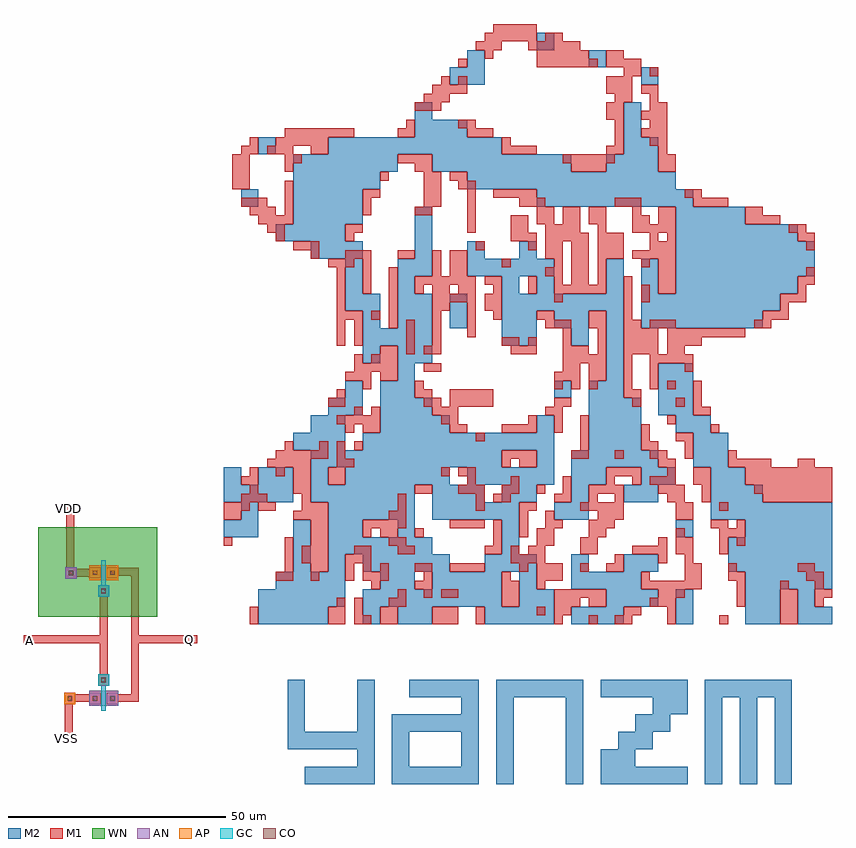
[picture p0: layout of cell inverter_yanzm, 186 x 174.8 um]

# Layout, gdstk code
import gdstk
lib = gdstk.Library(unit=1e-6, precision=1e-07)
def R(c, l, rs):  # rectangles x0, y0, x1, y1
    for r in rs: c.add(gdstk.rectangle(r[:2], r[2:], *l))
def P(c, l, *ps):  # polygons
    for p in ps: c.add(gdstk.Polygon(p, *l))
AP = (3, 1)
AN = (3, 2)
GC = (8, 1)
CO = (11, 0)
M1 = (13, 0)
M2 = (20, 0)
WN = (140, 0)

fet_n = lib.new_cell('fet_n')
R(fet_n, AN, [(-3.3,-1.7,3.3,1.7)])
R(fet_n, CO, [(-2.5,-0.5,-1.5,0.5), (1.5,-0.5,2.5,0.5)])
R(fet_n, M1, [(-3.3,-1.3,-0.7,1.3), (0.7,-1.3,3.3,1.3)])
fet_n.add(gdstk.FlexPath([(0,-2.9),(0,2.9)], 1, ends="flush", simple_path=True, layer=8, datatype=1))  # GC

cont_g = lib.new_cell('cont_g')
R(cont_g, GC, [(-1.3,-1.3,1.3,1.3)])
R(cont_g, CO, [(-0.5,-0.5,0.5,0.5)])
R(cont_g, M1, [(-1.3,-1.3,1.3,1.3)])

cont_p = lib.new_cell('cont_p')
R(cont_p, AP, [(-1.3,-1.3,1.3,1.3)])
R(cont_p, CO, [(-0.5,-0.5,0.5,0.5)])
R(cont_p, M1, [(-1.3,-1.3,1.3,1.3)])

silicon_art = lib.new_cell('SILICON_ART')
R(silicon_art, M1, [(6,0,8,4), (48,0,54,4), (58,0,60,4), (84,0,86,2), (114,0,116,2), (72,2,74,4), (50,6,54,8), (52,12,60,14), (82,12,84,14), (0,18,2,20), (44,20,46,22), (52,22,60,24), (114,26,116,28), (44,30,48,32), (72,30,74,32), (50,34,52,36), (90,38,92,40), (30,40,32,42), (58,42,60,44), (112,44,114,46), (102,46,104,48), (104,50,106,52), (102,54,104,56), (46,58,50,60), (42,62,44,70), (38,68,40,82), (34,70,36,72), (96,74,98,78), (70,76,72,80), (64,82,66,84), (40,84,44,86), (58,86,60,88), (36,102,38,104), (98,126,100,128), (54,128,56,130)])
P(silicon_art, M1, [(72,8),(72,14),(70,14),(70,12),(68,12),(68,14),(66,14),(66,18),(68,18),(68,16),(70,16),(70,18),(72,18),(72,22),(74,22),(74,26),(76,26),(76,24),(78,24),(78,22),(76,22),(76,18),(74,18),(74,14),(78,14),(78,10),(74,10),(74,8)],
  [(68,20),(68,28),(72,28),(72,26),(70,26),(70,20)],
  [(64,36),(64,40),(72,40),(72,36),(68,36),(68,38),(66,38),(66,36)],
  [(64,44),(64,46),(70,46),(70,48),(72,48),(72,44)],
  [(66,62),(66,64),(64,64),(64,66),(68,66),(68,64),(70,64),(70,66),(72,66),(72,62)],
  [(76,54),(76,58),(78,58),(78,68),(74,68),(74,70),(72,70),(72,72),(76,72),(76,70),(80,70),(80,64),(84,64),(84,62),(86,62),(86,68),(84,68),(84,72),(88,72),(88,56),(86,56),(86,54),(84,54),(84,60),(82,60),(82,54),(80,54),(80,56),(78,56),(78,54)],
  [(94,50),(94,52),(92,52),(92,80),(94,80),(94,70),(96,70),(96,68),(100,68),(100,62),(102,62),(102,68),(98,68),(98,70),(104,70),(104,68),(120,68),(120,66),(110,66),(110,64),(106,64),(106,62),(108,62),(108,58),(106,58),(106,60),(100,60),(100,54),(98,54),(98,62),(94,62),(94,54),(96,54),(96,50)],
  [(122,68),(122,70),(124,70),(124,72),(128,72),(128,76),(132,76),(132,80),(134,80),(134,82),(136,82),(136,78),(134,78),(134,74),(130,74),(130,70),(126,70),(126,68)],
  [(26,64),(26,82),(24,82),(24,84),(28,84),(28,86),(34,86),(34,76),(32,76),(32,84),(30,84),(30,82),(28,82),(28,72),(32,72),(32,64),(30,64),(30,70),(28,70),(28,64)],
  [(46,62),(46,64),(48,64),(48,78),(46,78),(46,76),(44,76),(44,78),(52,78),(52,76),(54,76),(54,78),(44,78),(44,80),(48,80),(48,86),(50,86),(50,80),(52,80),(52,86),(56,86),(56,80),(58,80),(58,66),(56,66),(56,74),(52,74),(52,72),(50,72),(50,62)],
  [(70,86),(70,88),(66,88),(66,94),(70,94),(70,90),(72,90),(72,86)],
  [(76,74),(76,80),(74,80),(74,82),(76,82),(76,84),(74,84),(74,88),(78,88),(78,78),(80,78),(80,88),(74,88),(74,92),(72,92),(72,96),(68,96),(68,98),(62,98),(62,100),(72,100),(72,98),(74,98),(74,96),(76,96),(76,92),(78,92),(78,96),(82,96),(82,90),(84,90),(84,78),(86,78),(86,92),(84,92),(84,96),(88,96),(88,90),(92,90),(92,84),(88,84),(88,76),(78,76),(78,74)],
  [(64,108),(64,112),(66,112),(66,110),(72,110),(72,108)],
  [(72,128),(72,132),(70,132),(70,134),(64,134),(64,132),(62,132),(62,130),(60,130),(60,132),(58,132),(58,134),(60,134),(60,136),(62,136),(62,138),(72,138),(72,134),(74,134),(74,136),(78,136),(78,134),(82,134),(82,132),(84,132),(84,130),(86,130),(86,128)],
  [(120,92),(120,96),(124,96),(124,94),(128,94),(128,92)],
  [(100,76),(100,84),(98,84),(98,82),(96,82),(96,84),(94,84),(94,86),(98,86),(98,90),(100,90),(100,88),(102,88),(102,90),(94,90),(94,96),(90,96),(90,98),(96,98),(96,94),(98,94),(98,92),(100,92),(100,96),(104,96),(104,76)],
  [(108,96),(108,98),(106,98),(106,100),(110,100),(110,98),(116,98),(116,96)],
  [(134,86),(134,88),(132,88),(132,90),(130,90),(130,92),(134,92),(134,90),(136,90),(136,86)],
  [(100,104),(100,110),(98,110),(98,112),(96,112),(96,114),(98,114),(98,116),(96,116),(96,118),(98,118),(98,122),(96,122),(96,124),(100,124),(100,120),(102,120),(102,108),(104,108),(104,104)],
  [(80,104),(80,106),(78,106),(78,108),(88,108),(88,110),(90,110),(90,116),(88,116),(88,120),(90,120),(90,122),(88,122),(88,126),(92,126),(92,128),(88,128),(88,132),(92,132),(92,130),(96,130),(96,126),(94,126),(94,120),(92,120),(92,108),(90,108),(90,106),(88,106),(88,104)],
  [(32,94),(32,100),(36,100),(36,98),(34,98),(34,94)],
  [(20,84),(20,86),(16,86),(16,88),(22,88),(22,84)],
  [(12,88),(12,90),(10,90),(10,92),(8,92),(8,94),(6,94),(6,96),(4,96),(4,98),(10,98),(10,96),(12,96),(12,94),(14,94),(14,102),(16,102),(16,92),(14,92),(14,88)],
  [(56,90),(56,100),(54,100),(54,102),(52,102),(52,104),(56,104),(56,102),(58,102),(58,90)],
  [(44,94),(44,96),(46,96),(46,104),(44,104),(44,106),(40,106),(40,108),(48,108),(48,104),(50,104),(50,96),(48,96),(48,94)],
  [(2,100),(2,108),(4,108),(4,110),(6,110),(6,112),(8,112),(8,108),(6,108),(6,100)],
  [(28,88),(28,92),(32,92),(32,90),(30,90),(30,88)],
  [(14,104),(14,108),(10,108),(10,110),(12,110),(12,112),(14,112),(14,114),(30,114),(30,112),(24,112),(24,108),(20,108),(20,110),(16,110),(16,108),(18,108),(18,106),(16,106),(16,104)],
  [(40,112),(40,114),(42,114),(42,116),(44,116),(44,112)],
  [(56,112),(56,114),(54,114),(54,116),(58,116),(58,114),(62,114),(62,112)],
  [(44,118),(44,120),(46,120),(46,122),(48,122),(48,124),(50,124),(50,126),(52,126),(52,124),(54,124),(54,126),(56,126),(56,122),(52,122),(52,120),(50,120),(50,118)],
  [(62,70),(62,72),(60,72),(60,76),(62,76),(62,78),(60,78),(60,80),(64,80),(64,70)],
  [(12,10),(12,12),(14,12),(14,20),(16,20),(16,10)],
  [(60,16),(60,18),(62,18),(62,24),(64,24),(64,16)],
  [(40,16),(40,18),(38,18),(38,20),(36,20),(36,22),(34,22),(34,20),(32,20),(32,24),(38,24),(38,26),(40,26),(40,30),(42,30),(42,22),(40,22),(40,20),(42,20),(42,18),(44,18),(44,16)],
  [(62,28),(62,30),(64,30),(64,32),(66,32),(66,34),(68,34),(68,30),(66,30),(66,28)],
  [(0,24),(0,28),(4,28),(4,30),(6,30),(6,32),(4,32),(4,34),(6,34),(6,36),(8,36),(8,30),(10,30),(10,28),(12,28),(12,26),(8,26),(8,28),(6,28),(6,26),(4,26),(4,24)],
  [(58,26),(58,30),(54,30),(54,32),(56,32),(56,34),(54,34),(54,36),(58,36),(58,32),(60,32),(60,26)],
  [(20,10),(20,14),(18,14),(18,18),(20,18),(20,24),(16,24),(16,26),(18,26),(18,30),(16,30),(16,36),(14,36),(14,34),(12,34),(12,36),(10,36),(10,38),(12,38),(12,40),(14,40),(14,42),(16,42),(16,40),(22,40),(22,42),(24,42),(24,38),(20,38),(20,28),(24,28),(24,12),(22,12),(22,10)],
  [(24,32),(24,36),(26,36),(26,42),(28,42),(28,38),(30,38),(30,36),(28,36),(28,32)],
  [(24,0),(24,4),(26,4),(26,6),(28,6),(28,0)],
  [(28,44),(28,46),(26,46),(26,48),(30,48),(30,50),(32,50),(32,48),(34,48),(34,50),(36,50),(36,44),(32,44),(32,46),(30,46),(30,44)],
  [(24,50),(24,52),(26,52),(26,54),(28,54),(28,50)],
  [(52,44),(52,46),(50,46),(50,48),(48,48),(48,50),(46,50),(46,52),(44,52),(44,56),(46,56),(46,54),(48,54),(48,52),(50,52),(50,50),(52,50),(52,54),(62,54),(62,50),(54,50),(54,46),(56,46),(56,44)],
  [(32,54),(32,56),(28,56),(28,58),(30,58),(30,62),(32,62),(32,60),(34,60),(34,62),(36,62),(36,64),(40,64),(40,56),(36,56),(36,58),(34,58),(34,54)],
  [(30,0),(30,6),(32,6),(32,2),(34,2),(34,0)],
  [(36,0),(36,4),(38,4),(38,6),(40,6),(40,8),(42,8),(42,4),(40,4),(40,0)],
  [(64,4),(64,12),(66,12),(66,10),(68,10),(68,4)],
  [(46,6),(46,8),(44,8),(44,10),(46,10),(46,12),(44,12),(44,14),(48,14),(48,6)],
  [(34,8),(34,10),(32,10),(32,14),(30,14),(30,10),(28,10),(28,16),(30,16),(30,18),(34,18),(34,12),(36,12),(36,14),(38,14),(38,10),(36,10),(36,8)],
  [(102,0),(102,4),(98,4),(98,6),(100,6),(100,8),(96,8),(96,12),(98,12),(98,10),(106,10),(106,16),(104,16),(104,22),(106,22),(106,20),(108,20),(108,14),(110,14),(110,8),(106,8),(106,6),(104,6),(104,0)],
  [(114,16),(114,22),(112,22),(112,24),(116,24),(116,22),(118,22),(118,24),(120,24),(120,18),(118,18),(118,20),(116,20),(116,16)],
  [(106,38),(106,42),(104,42),(104,44),(108,44),(108,38)],
  [(104,24),(104,28),(102,28),(102,30),(100,30),(100,32),(98,32),(98,34),(102,34),(102,36),(100,36),(100,38),(98,38),(98,40),(96,40),(96,46),(98,46),(98,42),(100,42),(100,40),(102,40),(102,38),(104,38),(104,32),(106,32),(106,28),(108,28),(108,24)],
  [(80,38),(80,40),(82,40),(82,48),(84,48),(84,38)],
  [(118,4),(118,10),(116,10),(116,14),(118,14),(118,12),(120,12),(120,4)],
  [(76,44),(76,48),(74,48),(74,50),(76,50),(76,52),(80,52),(80,50),(78,50),(78,44)],
  [(136,4),(136,10),(134,10),(134,12),(132,12),(132,14),(136,14),(136,12),(138,12),(138,8),(140,8),(140,6),(138,6),(138,4)],
  [(108,48),(108,56),(110,56),(110,50),(112,50),(112,48)],
  [(88,12),(88,14),(90,14),(90,16),(92,16),(92,12)],
  [(90,0),(90,2),(92,2),(92,4),(96,4),(96,2),(94,2),(94,0)],
  [(76,28),(76,30),(78,30),(78,34),(80,34),(80,28)],
  [(76,0),(76,8),(88,8),(88,4),(84,4),(84,6),(82,6),(82,4),(80,4),(80,2),(78,2),(78,0)],
  [(128,0),(128,10),(130,10),(130,8),(132,8),(132,0)],
  [(100,14),(100,16),(94,16),(94,18),(100,18),(100,20),(102,20),(102,14)],
  [(82,16),(82,20),(84,20),(84,24),(86,24),(86,26),(82,26),(82,28),(84,28),(84,30),(86,30),(86,28),(90,28),(90,30),(84,30),(84,32),(88,32),(88,36),(96,36),(96,32),(94,32),(94,34),(90,34),(90,32),(92,32),(92,24),(90,24),(90,22),(88,22),(88,20),(86,20),(86,16)],
  [(110,28),(110,32),(108,32),(108,36),(112,36),(112,28)],
  [(124,28),(124,30),(122,30),(122,32),(120,32),(120,36),(116,36),(116,40),(118,40),(118,38),(126,38),(126,36),(132,36),(132,38),(136,38),(136,36),(140,36),(140,28)])
R(silicon_art, M2, [(104,0,108,8), (104,20,108,24), (76,52,80,56), (52,68,56,76), (4,96,8,100), (8,108,12,112), (96,124,100,128), (84,128,88,132), (72,132,76,136)])
P(silicon_art, M2, [(80,0),(80,4),(88,4),(88,8),(80,8),(80,16),(84,16),(84,12),(92,12),(92,16),(100,16),(100,12),(96,12),(96,8),(100,8),(100,4),(92,4),(92,0)],
  [(0,20),(0,24),(4,24),(4,28),(0,28),(0,36),(4,36),(4,32),(8,32),(8,36),(16,36),(16,28),(8,28),(8,20)],
  [(120,0),(120,12),(116,12),(116,20),(120,20),(120,24),(112,24),(112,36),(108,36),(108,44),(104,44),(104,48),(100,48),(100,60),(108,60),(108,48),(112,48),(112,44),(116,44),(116,36),(120,36),(120,32),(124,32),(124,28),(140,28),(140,8),(136,8),(136,4),(140,4),(140,0),(132,0),(132,8),(128,8),(128,0)],
  [(76,24),(76,28),(80,28),(80,40),(84,40),(84,56),(88,56),(88,72),(84,72),(84,64),(80,64),(80,68),(76,68),(76,72),(72,72),(72,64),(64,64),(64,80),(68,80),(68,76),(72,76),(72,80),(56,80),(56,88),(60,88),(60,84),(68,84),(68,88),(72,88),(72,84),(76,84),(76,76),(88,76),(88,84),(92,84),(92,52),(96,52),(96,40),(100,40),(100,36),(104,36),(104,32),(100,32),(100,28),(92,28),(92,32),(96,32),(96,36),(88,36),(88,32),(84,32),(84,24)],
  [(8,0),(8,8),(12,8),(12,12),(16,12),(16,24),(20,24),(20,12),(24,12),(24,24),(32,24),(32,20),(40,20),(40,24),(24,24),(24,28),(20,28),(20,36),(24,36),(24,32),(44,32),(44,20),(48,20),(48,16),(52,16),(52,12),(64,12),(64,4),(68,4),(68,12),(60,12),(60,16),(64,16),(64,24),(48,24),(48,32),(28,32),(28,36),(52,36),(52,32),(60,32),(60,28),(64,28),(64,32),(56,32),(56,36),(20,36),(20,40),(16,40),(16,44),(20,44),(20,48),(24,48),(24,52),(28,52),(28,56),(32,56),(32,48),(28,48),(28,40),(64,40),(64,36),(72,36),(72,40),(32,40),(32,44),(36,44),(36,56),(40,56),(40,64),(36,64),(36,60),(32,60),(32,72),(28,72),(28,84),(20,84),(20,88),(12,88),(12,92),(16,92),(16,108),(24,108),(24,112),(44,112),(44,120),(48,120),(48,116),(56,116),(56,112),(64,112),(64,108),(80,108),(80,104),(88,104),(88,108),(92,108),(92,120),(96,120),(96,112),(100,112),(100,104),(104,104),(104,100),(108,100),(108,96),(120,96),(120,92),(132,92),(132,88),(136,88),(136,80),(132,80),(132,76),(128,76),(128,72),(124,72),(124,68),(96,68),(96,84),(100,84),(100,76),(104,76),(104,96),(72,96),(72,100),(56,100),(56,104),(48,104),(48,108),(40,108),(40,104),(36,104),(36,100),(32,100),(32,92),(28,92),(28,88),(32,88),(32,76),(36,76),(36,68),(40,68),(40,84),(44,84),(44,96),(48,96),(48,80),(44,80),(44,76),(48,76),(48,60),(44,60),(44,52),(48,52),(48,48),(52,48),(52,44),(72,44),(72,48),(76,48),(76,32),(72,32),(72,28),(68,28),(68,16),(72,16),(72,8),(76,8),(76,0),(60,0),(60,4),(48,4),(48,0),(40,0),(40,4),(36,4),(36,0),(32,0),(32,8),(36,8),(36,12),(44,12),(44,8),(48,8),(48,12),(32,12),(32,16),(28,16),(28,4),(24,4),(24,0)],
  [(52,124),(52,128),(56,128),(56,132),(60,132),(60,124)])

cont_n = lib.new_cell('cont_n')
R(cont_n, AN, [(-1.3,-1.3,1.3,1.3)])
R(cont_n, CO, [(-0.5,-0.5,0.5,0.5)])
R(cont_n, M1, [(-1.3,-1.3,1.3,1.3)])

fet_p = lib.new_cell('fet_p')
R(fet_p, AP, [(-3.3,-1.7,3.3,1.7)])
R(fet_p, CO, [(-2.5,-0.5,-1.5,0.5), (1.5,-0.5,2.5,0.5)])
R(fet_p, M1, [(-3.3,-1.3,-0.7,1.3), (0.7,-1.3,3.3,1.3)])
fet_p.add(gdstk.FlexPath([(0,-2.9),(0,2.9)], 1, ends="flush", simple_path=True, layer=8, datatype=1))  # GC

yanzm_text = lib.new_cell('YANZM_TEXT')
P(yanzm_text, M2, [(4,0),(4,4),(16,4),(16,8),(0,8),(0,24),(4,24),(4,12),(16,12),(16,24),(20,24),(20,0)],
  [(24,0),(24,12),(28,12),(28,4),(40,4),(40,12),(24,12),(24,16),(40,16),(40,20),(28,20),(28,24),(44,24),(44,0)],
  [(48,0),(48,24),(68,24),(68,0),(64,0),(64,20),(52,20),(52,0)],
  [(72,0),(72,8),(76,8),(76,12),(80,12),(80,16),(84,16),(84,20),(72,20),(72,24),(92,24),(92,16),(88,16),(88,12),(84,12),(84,8),(80,8),(80,4),(92,4),(92,0)],
  [(96,0),(96,24),(116,24),(116,0),(112,0),(112,20),(108,20),(108,0),(104,0),(104,20),(100,20),(100,0)])

inverter_yanzm = lib.new_cell('inverter_yanzm')
R(inverter_yanzm, WN, [(-15.1,1.7,12.3,22.3)])
inverter_yanzm.add(gdstk.FlexPath([(2,12),(7.2,12),(7.2,-17),(2,-17)], 1.8, ends="flush", simple_path=True, layer=13, datatype=0))  # M1
inverter_yanzm.add(gdstk.FlexPath([(0,7.6),(0,-12.8)], 1.8, ends="flush", simple_path=True, layer=13, datatype=0))  # M1
inverter_yanzm.add(gdstk.FlexPath([(-2.1,11.8),(-7.7,11.8),(-7.7,27.4)], 1.8, ends="flush", simple_path=True, layer=13, datatype=0))  # M1
inverter_yanzm.add(gdstk.FlexPath([(0,-3.5),(-18.4,-3.5)], 1.8, ends="flush", simple_path=True, layer=13, datatype=0))  # M1
inverter_yanzm.add(gdstk.FlexPath([(7.2,-3.5),(21.5,-3.5)], 1.8, ends="flush", simple_path=True, layer=13, datatype=0))  # M1
inverter_yanzm.add(gdstk.FlexPath([(-2,-17),(-8,-17),(-8,-26.8)], 1.8, ends="flush", simple_path=True, layer=13, datatype=0))  # M1
inverter_yanzm.add(gdstk.Reference(fet_n, (0,-17.1)))
inverter_yanzm.add(gdstk.Reference(cont_g, (0,-12.9)))
inverter_yanzm.add(gdstk.Reference(cont_p, (-7.8,-17.1)))
inverter_yanzm.add(gdstk.Reference(silicon_art, (27.6,0)))
inverter_yanzm.add(gdstk.Reference(cont_n, (-7.5,11.7)))
inverter_yanzm.add(gdstk.Reference(cont_g, (0,7.6)))
inverter_yanzm.add(gdstk.Reference(fet_p, (0,11.8)))
inverter_yanzm.add(gdstk.Reference(yanzm_text, (42.3,-36.8)))
inverter_yanzm.add(gdstk.Label('VDD', (-8,26.5), layer=48, texttype=0))
inverter_yanzm.add(gdstk.Label('Q', (19.7,-3.6), layer=48, texttype=0))
inverter_yanzm.add(gdstk.Label('A', (-17.1,-3.9), layer=48, texttype=0))
inverter_yanzm.add(gdstk.Label('VSS', (-8.6,-26.3), layer=48, texttype=0))

lib.write_gds('inverter_yanzm.gds')
